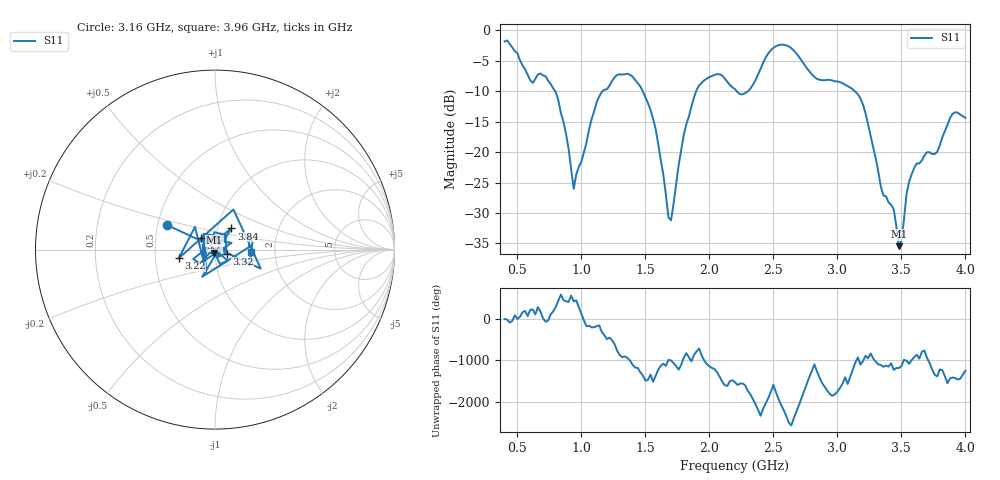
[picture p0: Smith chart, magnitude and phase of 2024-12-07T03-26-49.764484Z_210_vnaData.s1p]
!Created with skrf (http://scikit-rf.org).
# Hz S RI R 50.0
!freq ReS11 ImS11
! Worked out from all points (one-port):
!   181 points, 400 MHz to 4 GHz, reference 50 ohm
!   lowest |S11| = -35.4 dB at 3.48 GHz (marker M1), VSWR 1.03, Z = 49.5 - j1.62 ohm
!   |S11| at or under -10 dB: 794.8 MHz to 1.164 GHz (369.4 MHz wide, 37.7 % of centre); 1.479 GHz to 1.897 GHz (417.2 MHz wide, 24.7 % of centre); 3.137 GHz to end of sweep (the widest 3 of 4)
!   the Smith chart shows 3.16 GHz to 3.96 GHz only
!   S11 on the Smith chart (normalised r, x): 3.16 GHz: 0.56, +0.17; 3.22 GHz: 0.66, -0.07; 3.32 GHz: 1.14, -0.05; 3.7 GHz: 0.85, +0.11; 3.84 GHz: 1.16, +0.28; 3.96 GHz: 1.51, -0.05
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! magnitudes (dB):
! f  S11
! 400 MHz  -1.8
! 620 MHz  -8.6
! 720 MHz  -7.5
! 860 MHz  -15.0
! 940 MHz  -26.0
! 1.12 GHz  -11.8
! 1.3 GHz  -7.2
! 1.54 GHz  -13.1
! 1.68 GHz  -30.7
! 1.7 GHz  -31.2
! 1.76 GHz  -22.1
! 1.92 GHz  -9.0
! 2.2 GHz  -9.7
! 2.32 GHz  -9.6
! 2.5 GHz  -2.9
! 2.66 GHz  -3.3
! 2.84 GHz  -8.0
! 3.1 GHz  -9.4
! 3.16 GHz  -10.5
! 3.22 GHz  -13.6
! 3.32 GHz  -23.3
! 3.44 GHz  -29.4
! 3.48 GHz  -35.4
! 3.56 GHz  -24.9
! 3.7 GHz  -20.0
! 3.84 GHz  -16.5
! 3.96 GHz  -13.8
! 4 GHz  -14.4
